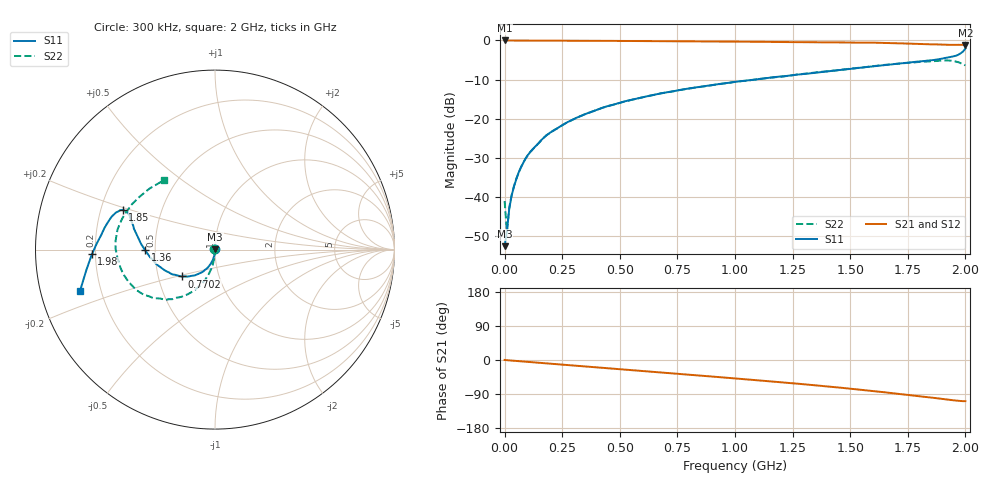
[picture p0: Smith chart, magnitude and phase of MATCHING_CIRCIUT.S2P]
!Agilent Technologies,E5071C,MY46520295,B.13.20
!Date: Fri Feb 23 07:18:03 2024
!Data & Calibration Information:
!Freq	S11:SOLT2(ON)	S21:SOLT2(ON)	S12:SOLT2(ON)	S22:SOLT2(ON)
!PortZ  Port1:50+j0  Port2:50+j0
!Above PortZ is port z conversion or system Z0 setting when saving the data.
!When reading, reference impedance value at option line is always used.
# Hz S RI R 50
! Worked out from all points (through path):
!   201 points, 300 kHz to 2 GHz, reference 50 ohm
!   highest |S21| = 0.01 dB at 300 kHz (marker M1); lowest = -1.2 dB at 2 GHz (marker M2)
!   group delay of S21, straight-line fit = 148 ps
!   lowest |S11| = -52.6 dB at 300 kHz (marker M3), VSWR 1.00, Z = 50.2 + j0.179 ohm
!   |S11| at or under -10 dB: start of sweep to 1.083 GHz
!   |S22| runs from -48.8 to -5.1 dB; largest |S21 - S12| = 0.0029
!   S11 on the Smith chart (normalised r, x): 300 kHz: 1.00, +0.00; 770.2 MHz: 0.67, -0.21; 1.36 GHz: 0.44, -0.00; 1.85 GHz: 0.29, +0.19; 1.98 GHz: 0.19, -0.02; 2 GHz: 0.12, -0.15
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300000  0.00153 0.00179  1.001 0.00379  1.001 0.000962  -0.00705 0.00541
1.02985e7  0.000229 -0.00361  0.999 -0.00869  1 -0.00895  0.000326 -0.00361
2.0297e7  -0.000167 -0.00699  0.9987 -0.0176  1 -0.0179  -0.000204 -0.00729
3.02955e7  -0.00086 -0.0102  0.9984 -0.0258  0.9996 -0.0265  -0.000638 -0.0104
4.0294e7  -0.00126 -0.0133  0.998 -0.0343  0.9995 -0.0345  -0.00106 -0.0136
6.0291e7  -0.00172 -0.0202  0.9973 -0.0516  0.9986 -0.052  -0.00125 -0.0199
9.02865e7  -0.00304 -0.0306  0.9946 -0.0767  0.9956 -0.0772  -0.00154 -0.0305
1.80273e8  -0.0128 -0.0596  0.9858 -0.1523  0.9864 -0.1532  -0.00678 -0.0603
3.40249e8  -0.0427 -0.1032  0.9512 -0.2834  0.9519 -0.2847  -0.0218 -0.1095
5.20222e8  -0.0951 -0.1366  0.8911 -0.4215  0.8914 -0.4225  -0.0484 -0.1584
6.701995e8  -0.1453 -0.15  0.8252 -0.5265  0.8257 -0.5274  -0.0762 -0.1939
7.701845e8  -0.1823 -0.1495  0.7748 -0.5913  0.7752 -0.5922  -0.0988 -0.2135
1.00015e9  -0.2699 -0.1213  0.6378 -0.7245  0.6376 -0.7256  -0.156 -0.2509
1.340099e9  -0.3838 -0.0113  0.3824 -0.871  0.3819 -0.8722  -0.2691 -0.2791
1.360096e9  -0.3903 -0.00201  0.3654 -0.8783  0.3648 -0.8798  -0.2787 -0.279
1.67005e9  -0.4659 0.157  0.0546 -0.9255  0.0537 -0.9267  -0.444 -0.2199
1.850022e9  -0.5134 0.2212  -0.1402 -0.882  -0.1413 -0.8832  -0.5373 -0.0691
1.900015e9  -0.5503 0.2074  -0.1974 -0.8634  -0.1989 -0.8642  -0.5543 0.0225
1.93001e9  -0.5879 0.166  -0.229 -0.8491  -0.2302 -0.8493  -0.5436 0.1096
1.960006e9  -0.6337 0.0817  -0.2587 -0.8418  -0.2605 -0.8427  -0.4943 0.2096
1.980003e9  -0.686 -0.0265  -0.2757 -0.8361  -0.2771 -0.8366  -0.4202 0.2946
2e9  -0.7526 -0.232  -0.2782 -0.8295  -0.28 -0.8292  -0.2861 0.386
